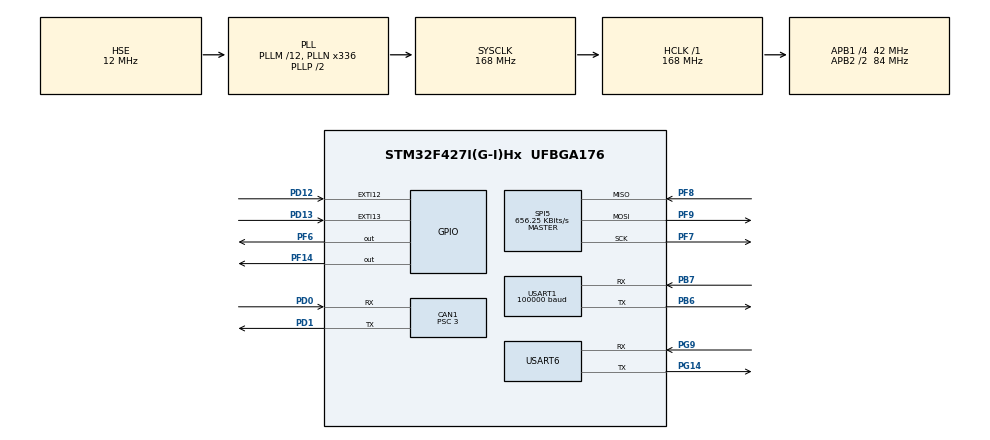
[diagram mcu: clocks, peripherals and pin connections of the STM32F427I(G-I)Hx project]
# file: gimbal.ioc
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CAN1.BS1=CAN_BS1_6TQ
CAN1.BS2=CAN_BS2_7TQ
CAN1.CalculateTimeQuantum=71.42857142857143
CAN1.NART=ENABLE
CAN1.Prescaler=3
Dma.Request0=USART1_RX
Dma.Request1=USART6_TX
Dma.Request2=USART6_RX
Dma.USART1_RX.0.Direction=DMA_PERIPH_TO_MEMORY
Dma.USART1_RX.0.FIFOMode=DMA_FIFOMODE_DISABLE
Dma.USART1_RX.0.Instance=DMA2_Stream2
Dma.USART1_RX.0.MemDataAlignment=DMA_MDATAALIGN_BYTE
Dma.USART1_RX.0.MemInc=DMA_MINC_ENABLE
Dma.USART1_RX.0.Mode=DMA_CIRCULAR
Dma.USART1_RX.0.PeriphDataAlignment=DMA_PDATAALIGN_BYTE
Dma.USART1_RX.0.PeriphInc=DMA_PINC_DISABLE
Dma.USART1_RX.0.Priority=DMA_PRIORITY_LOW
Dma.USART6_RX.2.Direction=DMA_PERIPH_TO_MEMORY
Dma.USART6_RX.2.FIFOMode=DMA_FIFOMODE_DISABLE
Dma.USART6_RX.2.Instance=DMA2_Stream1
Dma.USART6_RX.2.MemDataAlignment=DMA_MDATAALIGN_BYTE
Dma.USART6_RX.2.MemInc=DMA_MINC_ENABLE
Dma.USART6_RX.2.Mode=DMA_CIRCULAR
Dma.USART6_RX.2.PeriphDataAlignment=DMA_PDATAALIGN_BYTE
Dma.USART6_RX.2.PeriphInc=DMA_PINC_DISABLE
Dma.USART6_RX.2.Priority=DMA_PRIORITY_LOW
Dma.USART6_TX.1.Direction=DMA_MEMORY_TO_PERIPH
Dma.USART6_TX.1.FIFOMode=DMA_FIFOMODE_DISABLE
Dma.USART6_TX.1.Instance=DMA2_Stream6
Dma.USART6_TX.1.MemDataAlignment=DMA_MDATAALIGN_BYTE
Dma.USART6_TX.1.MemInc=DMA_MINC_ENABLE
Dma.USART6_TX.1.Mode=DMA_CIRCULAR
Dma.USART6_TX.1.PeriphDataAlignment=DMA_PDATAALIGN_BYTE
Dma.USART6_TX.1.PeriphInc=DMA_PINC_DISABLE
Dma.USART6_TX.1.Priority=DMA_PRIORITY_LOW
Mcu.Family=STM32F4
Mcu.Name=STM32F427I(G-I)Hx
Mcu.Package=UFBGA176
NVIC.CAN1_RX0_IRQn=true\:0\:0\:false\:true\:true\:2\:true
NVIC.CAN1_TX_IRQn=true\:0\:0\:false\:true\:true\:1\:true
NVIC.DMA2_Stream1_IRQn=true\:0\:0\:false\:false\:true\:false
NVIC.DMA2_Stream2_IRQn=true\:0\:0\:false\:false\:true\:false
NVIC.DMA2_Stream6_IRQn=true\:0\:0\:false\:false\:true\:false
NVIC.EXTI15_10_IRQn=true\:0\:0\:false\:false\:true\:true
NVIC.PriorityGroup=NVIC_PRIORITYGROUP_4
NVIC.TIM6_DAC_IRQn=true\:0\:0\:false\:false\:true\:true
NVIC.USART1_IRQn=true\:0\:0\:false\:true\:true\:3\:true
NVIC.USART6_IRQn=true\:0\:0\:false\:true\:true\:4\:true
PA13.Mode=JTAG_5_pins
PA13.Signal=SYS_JTMS-SWDIO
PA14.Mode=JTAG_5_pins
PA14.Signal=SYS_JTCK-SWCLK
PA15.Mode=JTAG_5_pins
PA15.Signal=SYS_JTDI
PB3.Mode=JTAG_5_pins
PB3.Signal=SYS_JTDO-SWO
PB4.Mode=JTAG_5_pins
PB4.Signal=SYS_JTRST
PB6.Mode=Asynchronous
PB6.Signal=USART1_TX
PB7.Mode=Asynchronous
PB7.Signal=USART1_RX
PD0.Mode=Master
PD0.Signal=CAN1_RX
PD1.Mode=Master
PD1.Signal=CAN1_TX
PD12.GPIO_ModeDefaultEXTI=GPIO_MODE_IT_FALLING
PD12.Signal=GPXTI12
PD13.GPIO_ModeDefaultEXTI=GPIO_MODE_IT_FALLING
PD13.Signal=GPXTI13
PF14.Signal=GPIO_Output
PF6.Signal=GPIO_Output
PF7.Mode=Full_Duplex_Master
PF7.Signal=SPI5_SCK
PF8.Mode=Full_Duplex_Master
PF8.Signal=SPI5_MISO
PF9.Mode=Full_Duplex_Master
PF9.Signal=SPI5_MOSI
PG14.Mode=Asynchronous
PG14.Signal=USART6_TX
PG9.Mode=Asynchronous
PG9.Signal=USART6_RX
PH0/OSC_IN.Mode=HSE-External-Oscillator
PH0/OSC_IN.Signal=RCC_OSC_IN
PH1/OSC_OUT.Mode=HSE-External-Oscillator
PH1/OSC_OUT.Signal=RCC_OSC_OUT
ProjectManager.HeapSize=0x200
ProjectManager.StackSize=0x400
ProjectManager.TargetToolchain=MDK-ARM V5
RCC.48MHZClocksFreq_Value=84000000
RCC.AHBFreq_Value=168000000
RCC.APB1CLKDivider=RCC_HCLK_DIV4
RCC.APB1Freq_Value=42000000
RCC.APB1TimFreq_Value=84000000
RCC.APB2CLKDivider=RCC_HCLK_DIV2
RCC.APB2Freq_Value=84000000
RCC.APB2TimFreq_Value=168000000
RCC.CortexFreq_Value=168000000
RCC.HCLKFreq_Value=168000000
RCC.HSE_VALUE=12000000
RCC.HSI_VALUE=16000000
RCC.LSE_VALUE=32768
RCC.PLLM=12
RCC.PLLN=336
RCC.PLLSourceVirtual=RCC_PLLSOURCE_HSE
RCC.SYSCLKFreq_VALUE=168000000
RCC.SYSCLKSource=RCC_SYSCLKSOURCE_PLLCLK
RCC.VCOOutputFreq_Value=336000000
SPI5.BaudRatePrescaler=SPI_BAUDRATEPRESCALER_128
SPI5.CalculateBaudRate=656.25 KBits/s
SPI5.Direction=SPI_DIRECTION_2LINES
SPI5.Mode=SPI_MODE_MASTER
SPI5.VirtualType=VM_MASTER
TIM2.Period=0xffffffff
TIM2.Prescaler=83
TIM6.Period=999
TIM6.Prescaler=83
USART1.BaudRate=100000
USART1.Parity=PARITY_EVEN
USART1.VirtualMode=VM_ASYNC
USART6.VirtualMode=VM_ASYNC
VP_TIM2_VS_ClockSourceINT.Mode=Internal
VP_TIM6_VS_ClockSourceINT.Mode=Enable_Timer
board=custom

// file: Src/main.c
/**
  ******************************************************************************
  * @file           : main.c
  * @brief          : Main program body
  ******************************************************************************
  ** This notice applies to any and all portions of this file
  * that are not between comment pairs USER CODE BEGIN and
  * USER CODE END. Other portions of this file, whether
  * inserted by the user or by software development tools
  * are owned by their respective copyright owners.
  *
  * COPYRIGHT(c) 2018 STMicroelectronics
  *
  * Redistribution and use in source and binary forms, with or without modification,
  * are permitted provided that the following conditions are met:
  *   1. Redistributions of source code must retain the above copyright notice,
  *      this list of conditions and the following disclaimer.
  *   2. Redistributions in binary form must reproduce the above copyright notice,
  *      this list of conditions and the following disclaimer in the documentation
  *      and/or other materials provided with the distribution.
  *   3. Neither the name of STMicroelectronics nor the names of its contributors
  *      may be used to endorse or promote products derived from this software
  *      without specific prior written permission.
  *
  * THIS SOFTWARE IS PROVIDED BY THE COPYRIGHT HOLDERS AND CONTRIBUTORS "AS IS"
  * AND ANY EXPRESS OR IMPLIED WARRANTIES, INCLUDING, BUT NOT LIMITED TO, THE
  * IMPLIED WARRANTIES OF MERCHANTABILITY AND FITNESS FOR A PARTICULAR PURPOSE ARE
  * DISCLAIMED. IN NO EVENT SHALL THE COPYRIGHT HOLDER OR CONTRIBUTORS BE LIABLE
  * FOR ANY DIRECT, INDIRECT, INCIDENTAL, SPECIAL, EXEMPLARY, OR CONSEQUENTIAL
  * DAMAGES (INCLUDING, BUT NOT LIMITED TO, PROCUREMENT OF SUBSTITUTE GOODS OR
  * SERVICES; LOSS OF USE, DATA, OR PROFITS; OR BUSINESS INTERRUPTION) HOWEVER
  * CAUSED AND ON ANY THEORY OF LIABILITY, WHETHER IN CONTRACT, STRICT LIABILITY,
  * OR TORT (INCLUDING NEGLIGENCE OR OTHERWISE) ARISING IN ANY WAY OUT OF THE USE
  * OF THIS SOFTWARE, EVEN IF ADVISED OF THE POSSIBILITY OF SUCH DAMAGE.
  *
  ******************************************************************************
  */
#include "main.h"
#include "stm32f4xx_hal.h"
#include "can.h"
#include "dma.h"
#include "spi.h"
#include "tim.h"
#include "usart.h"
#include "gpio.h"

/* USER CODE BEGIN Includes */
#include "q6623.h"
#include "can_send.h"
#include "stdio.h"
#include "bsp_uart.h"
#include "imu.h"
#include "gimbal.h"
#include "gimbal_task.h"
#include "minipc.h"
#include "IOTask.h"
/* USER CODE END Includes */

/* USER CODE BEGIN PV */
/* Private variables ---------------------------------------------------------*/

/* USER CODE END PV */

void SystemClock_Config(void);
static void MX_NVIC_Init(void);

/* USER CODE BEGIN PFP */
/* Private function prototypes -----------------------------------------------*/

/* USER CODE END PFP */

/* USER CODE BEGIN 0 */
extern rc_info_t rc;
extern uint16_t gimbal_time;
extern uint16_t minipc_time;
 extern CAN_TxHeaderTypeDef   TxMsg;
 extern imu_t imu;
 unsigned char got_pitchyaw[8];
 extern Gimbal_Ref_t GimbalRef;
 extern uint8_t UART6_RXBUFF[80];
/* USER CODE END 0 */

int main(void)
{

  /* MCU Configuration----------------------------------------------------------*/

  /* Reset of all peripherals, Initializes the Flash interface and the Systick. */
  HAL_Init();

  /* Configure the system clock */
  SystemClock_Config();

  /* Initialize all configured peripherals */
  MX_GPIO_Init();
  MX_DMA_Init();
  MX_SPI5_Init();
  MX_TIM2_Init();
  MX_TIM6_Init();
  MX_USART1_UART_Init();
  MX_USART6_UART_Init();
  MX_CAN1_Init();

  /* Initialize interrupts */
  MX_NVIC_Init();
  /* USER CODE BEGIN 2 */
  uart_init(&huart1,dbus_buf,50);
	HAL_TIM_Base_Start_IT(&htim6);
	HAL_CAN_Start(&hcan1 );
	mpu_device_init();
	init_quaternion();
  __HAL_CAN_ENABLE_IT(&hcan1,((uint32_t) CAN_IER_FMPIE0));
	 AppParamInit();
	 Motor_Init();
	 Ref_Gimbal_Prepare();
  /* USER CODE END 2 */

  /* Infinite loop */
  while (1)
  {
		//if(rc.sw1==1)
    //{

			if(gimbal_time==1)
		 {
		 imu_run();
		get_pitchyaw();
		Ref_UpdataFromRCStick();
		gimbal_time=0;
		 }
		  if(minipc_time )
			{
				Send_MiniPC();
				HAL_Delay(1);
			}
//		}else if(rc.sw1==3)
//		{
//
//		}
  }

}

void SystemClock_Config(void)
{

  RCC_OscInitTypeDef RCC_OscInitStruct;
  RCC_ClkInitTypeDef RCC_ClkInitStruct;

    /**Configure the main internal regulator output voltage
    */
  __HAL_RCC_PWR_CLK_ENABLE();

  __HAL_PWR_VOLTAGESCALING_CONFIG(PWR_REGULATOR_VOLTAGE_SCALE1);

    /**Initializes the CPU, AHB and APB busses clocks
    */
  RCC_OscInitStruct.OscillatorType = RCC_OSCILLATORTYPE_HSE;
  RCC_OscInitStruct.HSEState = RCC_HSE_ON;
  RCC_OscInitStruct.PLL.PLLState = RCC_PLL_ON;
  RCC_OscInitStruct.PLL.PLLSource = RCC_PLLSOURCE_HSE;
  RCC_OscInitStruct.PLL.PLLM = 12;
  RCC_OscInitStruct.PLL.PLLN = 336;
  RCC_OscInitStruct.PLL.PLLP = RCC_PLLP_DIV2;
  RCC_OscInitStruct.PLL.PLLQ = 4;
  if (HAL_RCC_OscConfig(&RCC_OscInitStruct) != HAL_OK)
  {
    _Error_Handler(__FILE__, __LINE__);
  }

    /**Initializes the CPU, AHB and APB busses clocks
    */
  RCC_ClkInitStruct.ClockType = RCC_CLOCKTYPE_HCLK|RCC_CLOCKTYPE_SYSCLK
                              |RCC_CLOCKTYPE_PCLK1|RCC_CLOCKTYPE_PCLK2;
  RCC_ClkInitStruct.SYSCLKSource = RCC_SYSCLKSOURCE_PLLCLK;
  RCC_ClkInitStruct.AHBCLKDivider = RCC_SYSCLK_DIV1;
  RCC_ClkInitStruct.APB1CLKDivider = RCC_HCLK_DIV4;
  RCC_ClkInitStruct.APB2CLKDivider = RCC_HCLK_DIV2;

  if (HAL_RCC_ClockConfig(&RCC_ClkInitStruct, FLASH_LATENCY_5) != HAL_OK)
  {
    _Error_Handler(__FILE__, __LINE__);
  }

    /**Configure the Systick interrupt time
    */
  HAL_SYSTICK_Config(HAL_RCC_GetHCLKFreq()/1000);

    /**Configure the Systick
    */
  HAL_SYSTICK_CLKSourceConfig(SYSTICK_CLKSOURCE_HCLK);

  /* SysTick_IRQn interrupt configuration */
  HAL_NVIC_SetPriority(SysTick_IRQn, 0, 0);
}

/**
  * @brief NVIC Configuration.
  * @retval None
  */
static void MX_NVIC_Init(void)
{
  /* CAN1_TX_IRQn interrupt configuration */
  HAL_NVIC_SetPriority(CAN1_TX_IRQn, 0, 0);
  HAL_NVIC_EnableIRQ(CAN1_TX_IRQn);
  /* CAN1_RX0_IRQn interrupt configuration */
  HAL_NVIC_SetPriority(CAN1_RX0_IRQn, 1, 1);
  HAL_NVIC_EnableIRQ(CAN1_RX0_IRQn);
  /* USART1_IRQn interrupt configuration */
  HAL_NVIC_SetPriority(USART1_IRQn, 0, 0);
  HAL_NVIC_EnableIRQ(USART1_IRQn);
  /* USART6_IRQn interrupt configuration */
  HAL_NVIC_SetPriority(USART6_IRQn, 0, 1);
  HAL_NVIC_EnableIRQ(USART6_IRQn);
}

void _Error_Handler(char *file, int line)
{
  while(1)
  {
  }
}

/************************ (C) COPYRIGHT STMicroelectronics *****END OF FILE****/
